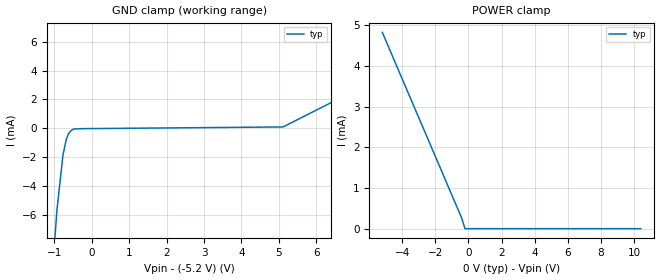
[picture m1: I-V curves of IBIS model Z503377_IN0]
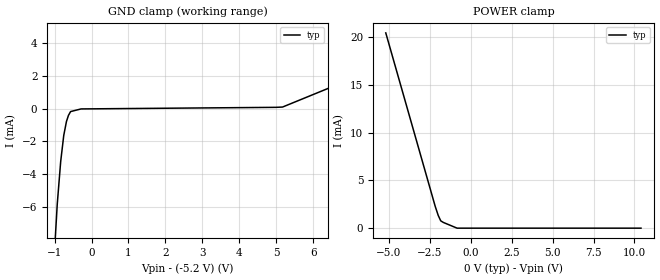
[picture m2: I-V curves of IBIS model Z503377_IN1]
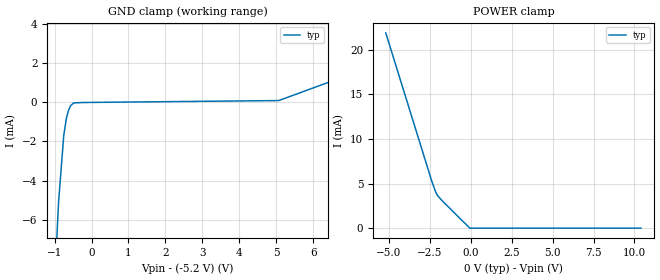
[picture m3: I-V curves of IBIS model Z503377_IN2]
| YOU ARE ONLY AUTHORIZED TO USE THIS SOFTWARE
| ACCORDING TO LICENSOR'S LICENSE RESTRICTIONS.
[IBIS Ver] 3.1
[File Name] mc100e451fn.ibs
[File Rev] 2.0
[Source] Measured and created by ICX Technology
[Date] Friday 7/14/00 9:07:47 AM
[Copyright]
| (C) COPYRIGHT 1993-2000
| MENTOR GRAPHICS CORPORATION
| ICX STANDARD LIBRARY, ICX PROJECT MODELING,
| ICX CUSTOM MODELING, ICX VENDOR MODEL
| ALL RIGHTS RESERVED.
| THE FOLLOWING ARE TRADEMARKS OR SERVICE MARKS OF
| MENTOR GRAPHICS CORPORATION:ICX (R), ICX STANDARD
| LIBRARY(R), ICX PROJECT MODELING(R), ICX CUSTOM
| MODELING(R), qualityIBIS(TM), MODELVIEWER(TM),
| AND MODELEDITOR(TM)
| ALL COPIES OF SOFTWARE, INCLUDING BUT NOT LIMITED TO
| ANY MODIFICATIONS, ENHANCEMENTS OR DERIVATIVE WORKS,
| MUST CONTAIN ALL MENTOR GRAPHICS CORPORATION'S
| NOTICES AND LEGENDS, INCLUDING THOSE EMBEDDED IN
| SOFTWARE AND THOSE AFFIXED TO SOFTWARE MEDIUM
| AND CONTAINER, AS RECEIVED FROM MENTOR GRAPHICS
| CORPORATION.
|  ZAP Model Builder 2.7
[Component] MC100E451FN
[Manufacturer] OnSemiconductor
[Package]
| variable   typ   min   max
R_pkg  .083ohms NA NA
L_pkg  4.299nH NA NA
C_pkg  1.045pF NA NA
[Pin] signal_name  model_name  R_pin  L_pin C_pin
1 VEE POWER .08 3.94n .925p
2 MR Z503377_IN0 .082 4.14n .995p
3 NC NC .084 4.354n 1.065p
4 D0 Z503377_IN1 .086 4.583n 1.135p
5 _D0 Z503377_IN1 .086 4.583n 1.135p
6 D1 Z503377_IN1 .084 4.354n 1.065p
7 _D1 Z503377_IN1 .082 4.14n .995p
8 D2 Z503377_IN1 .08 3.94n .925p
9 _D2 Z503377_IN1 .082 4.14n .995p
10 VCCO POWER .084 4.354n 1.065p
11 Q0 Z503377_OUT0 .086 4.583n 1.135p
12 Q1 Z503377_OUT0 .086 4.583n 1.135p
13 Q2 Z503377_OUT0 .084 4.354n 1.065p
14 VCCO POWER .082 4.14n .995p
15 Q3 Z503377_OUT0 .08 3.94n .925p
16 VCC POWER .082 4.14n .995p
17 Q4 Z503377_OUT0 .084 4.354n 1.065p
18 Q5 Z503377_OUT0 .086 4.583n 1.135p
19 VCCO POWER .086 4.583n 1.135p
20 D3 Z503377_IN1 .084 4.354n 1.065p
21 _D3 Z503377_IN1 .082 4.14n .995p
22 D4 Z503377_IN1 .08 3.94n .925p
23 _D4 Z503377_IN1 .082 4.14n .995p
24 D5 Z503377_IN1 .084 4.354n 1.065p
25 _D5 Z503377_IN1 .086 4.583n 1.135p
26 CLK Z503377_IN2 .086 4.583n 1.135p
27 VBB POWER .084 4.354n 1.065p
28 _CLK Z503377_IN2 .082 4.14n .995p
| Models and submodels in the file (4): Z503377_IN0 (Input_ECL), Z503377_IN1 (Input_ECL), Z503377_IN2 (Input_ECL), Z503377_OUT0 (Output_ECL)
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| (C) COPYRIGHT 1993-2000
| MENTOR GRAPHICS CORPORATION
| ICX STANDARD LIBRARY, ICX PROJECT MODELING,
| ICX CUSTOM MODELING, ICX VENDOR MODEL
| ALL RIGHTS RESERVED.
| THE FOLLOWING ARE TRADEMARKS OR SERVICE MARKS OF
| MENTOR GRAPHICS CORPORATION:ICX (R), ICX STANDARD
| LIBRARY(R), ICX PROJECT MODELING(R), ICX CUSTOM
| MODELING(R), qualityIBIS(TM), MODELVIEWER(TM),
| AND MODELEDITOR(TM)
| ALL COPIES OF SOFTWARE, INCLUDING BUT NOT LIMITED TO
| ANY MODIFICATIONS, ENHANCEMENTS OR DERIVATIVE WORKS,
| MUST CONTAIN ALL MENTOR GRAPHICS CORPORATION'S
| NOTICES AND LEGENDS, INCLUDING THOSE EMBEDDED IN
| SOFTWARE AND THOSE AFFIXED TO SOFTWARE MEDIUM
| AND CONTAINER, AS RECEIVED FROM MENTOR GRAPHICS
| CORPORATION.
| Model Application Version 1.89 2/18/99.
[Model] Z503377_IN0
Model_type Input_ECL
Vinl = -1.475V
Vinh = -1.165V
C_comp 4.000pF NA NA
| variable typ   min   max
[Voltage Range] -5.200V NA NA
[GND Clamp Reference] -5.200V NA NA
[POWER Clamp Reference] 0.000V NA NA
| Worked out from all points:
|   GND clamp passes 1 mA (typ) near -0.70 V on its own axis
[GND Clamp]
-5.2V     -208.7mA   NA         NA
-1.092V   -11.28mA   NA         NA
-931mV    -5.627mA   NA         NA
-771mV    -1.837mA   NA         NA
-679mV    -725.1uA   NA         NA
-625mV    -379.9uA   NA         NA
-567mV    -178.4uA   NA         NA
-485mV    -41.08uA   NA         NA
-242.5mV  -17.58uA   NA         NA
5.112V    101.4uA    NA         NA
10.4V     7.022mA    NA         NA
[POWER Clamp]
-5.2V     4.828mA    NA         NA
-419.9mV  269.3uA    NA         NA
-210mV    0A         NA         NA
10.4V     0A         NA         NA
| (C) COPYRIGHT 1993-2000
| MENTOR GRAPHICS CORPORATION
| ICX STANDARD LIBRARY, ICX PROJECT MODELING,
| ICX CUSTOM MODELING, ICX VENDOR MODEL
| ALL RIGHTS RESERVED.
| THE FOLLOWING ARE TRADEMARKS OR SERVICE MARKS OF
| MENTOR GRAPHICS CORPORATION:ICX (R), ICX STANDARD
| LIBRARY(R), ICX PROJECT MODELING(R), ICX CUSTOM
| MODELING(R), qualityIBIS(TM), MODELVIEWER(TM),
| AND MODELEDITOR(TM)
| ALL COPIES OF SOFTWARE, INCLUDING BUT NOT LIMITED TO
| ANY MODIFICATIONS, ENHANCEMENTS OR DERIVATIVE WORKS,
| MUST CONTAIN ALL MENTOR GRAPHICS CORPORATION'S
| NOTICES AND LEGENDS, INCLUDING THOSE EMBEDDED IN
| SOFTWARE AND THOSE AFFIXED TO SOFTWARE MEDIUM
| AND CONTAINER, AS RECEIVED FROM MENTOR GRAPHICS
| CORPORATION.
| Model Application Version 1.89 2/18/99.
[Model] Z503377_IN1
Model_type Input_ECL
Vinl = -1.475V
Vinh = -1.165V
C_comp 4.000pF NA NA
| variable typ   min   max
[Voltage Range] -5.200V NA NA
[GND Clamp Reference] -5.200V NA NA
[POWER Clamp Reference] 0.000V NA NA
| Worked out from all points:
|   GND clamp passes 1 mA (typ) near -0.70 V on its own axis
|   POWER clamp passes 1 mA (typ) near -1.90 V on its own axis
[GND Clamp]
-5.2V     -241.5mA   NA         NA
-1.085V   -11.95mA   NA         NA
-928mV    -5.843mA   NA         NA
-835mV    -3.237mA   NA         NA
-752mV    -1.64mA    NA         NA
-679mV    -790.5uA   NA         NA
-625mV    -418.4uA   NA         NA
-567mV    -183.1uA   NA         NA
-283.5mV  -20.91uA   NA         NA
4.991V    75.67uA    NA         NA
5.171V    93.72uA    NA         NA
10.4V     4.915mA    NA         NA
[POWER Clamp]
-5.2V     20.48mA    NA         NA
-2.181V   2.303mA    NA         NA
-1.992V   1.328mA    NA         NA
-1.84V    768.8uA    NA         NA
-1.681V   599.4uA    NA         NA
-840.5mV  0A         NA         NA
10.4V     0A         NA         NA
| (C) COPYRIGHT 1993-2000
| MENTOR GRAPHICS CORPORATION
| ICX STANDARD LIBRARY, ICX PROJECT MODELING,
| ICX CUSTOM MODELING, ICX VENDOR MODEL
| ALL RIGHTS RESERVED.
| THE FOLLOWING ARE TRADEMARKS OR SERVICE MARKS OF
| MENTOR GRAPHICS CORPORATION:ICX (R), ICX STANDARD
| LIBRARY(R), ICX PROJECT MODELING(R), ICX CUSTOM
| MODELING(R), qualityIBIS(TM), MODELVIEWER(TM),
| AND MODELEDITOR(TM)
| ALL COPIES OF SOFTWARE, INCLUDING BUT NOT LIMITED TO
| ANY MODIFICATIONS, ENHANCEMENTS OR DERIVATIVE WORKS,
| MUST CONTAIN ALL MENTOR GRAPHICS CORPORATION'S
| NOTICES AND LEGENDS, INCLUDING THOSE EMBEDDED IN
| SOFTWARE AND THOSE AFFIXED TO SOFTWARE MEDIUM
| AND CONTAINER, AS RECEIVED FROM MENTOR GRAPHICS
| CORPORATION.
| Model Application Version 1.89 2/18/99.
[Model] Z503377_IN2
Model_type Input_ECL
Vinl = -1.475V
Vinh = -1.165V
C_comp 4.000pF NA NA
| variable typ   min   max
[Voltage Range] -5.200V NA NA
[GND Clamp Reference] -5.200V NA NA
[POWER Clamp Reference] 0.000V NA NA
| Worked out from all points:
|   GND clamp passes 1 mA (typ) near -0.69 V on its own axis
[GND Clamp]
-5.2V     -247mA     NA         NA
-1.08V    -12.5mA    NA         NA
-893mV    -5.112mA   NA         NA
-752mV    -1.698mA   NA         NA
-679mV    -806.5uA   NA         NA
-624mV    -419.5uA   NA         NA
-567mV    -181.4uA   NA         NA
-485mV    -39.86uA   NA         NA
-242.5mV  -16.58uA   NA         NA
5.069V    82.64uA    NA         NA
10.4V     3.759mA    NA         NA
[POWER Clamp]
-5.2V     21.89mA    NA         NA
-2.393V   5.297mA    NA         NA
-2.167V   4.133mA    NA         NA
-2.051V   3.692mA    NA         NA
-1.762V   3.095mA    NA         NA
-458mV    716uA      NA         NA
-147.1mV  168.9uA    NA         NA
-73.55mV  0A         NA         NA
10.4V     0A         NA         NA
